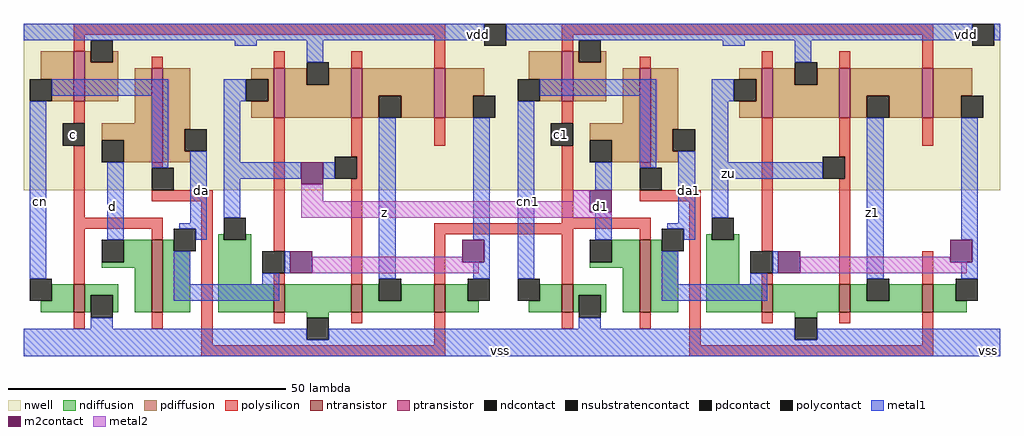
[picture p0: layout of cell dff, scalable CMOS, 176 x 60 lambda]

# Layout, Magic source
magic
tech scmos
<< nwell >>
rect -5 29 171 59
<< polysilicon >>
rect 4 57 71 59
rect 4 54 6 57
rect 18 51 20 53
rect 40 51 42 54
rect 4 41 6 45
rect 4 24 6 37
rect 54 51 56 54
rect 69 51 71 57
rect 92 57 159 59
rect 92 54 94 57
rect 106 51 108 53
rect 128 51 130 54
rect 18 33 20 34
rect 18 27 29 29
rect 4 22 20 24
rect 4 12 6 22
rect 18 20 20 22
rect 4 4 6 7
rect 18 4 20 7
rect 27 1 29 27
rect 40 18 42 42
rect 54 35 56 42
rect 69 37 71 42
rect 92 41 94 45
rect 55 31 56 35
rect 40 12 42 14
rect 54 12 56 31
rect 92 24 94 37
rect 142 51 144 54
rect 157 51 159 57
rect 106 33 108 34
rect 106 27 117 29
rect 92 23 108 24
rect 69 22 108 23
rect 69 21 94 22
rect 69 12 71 21
rect 92 12 94 21
rect 106 20 108 22
rect 40 5 42 7
rect 54 5 56 7
rect 69 1 71 7
rect 92 4 94 7
rect 106 4 108 7
rect 27 -1 71 1
rect 115 1 117 27
rect 128 18 130 42
rect 142 35 144 42
rect 157 37 159 42
rect 143 31 144 35
rect 128 12 130 14
rect 142 12 144 31
rect 157 12 159 18
rect 128 5 130 7
rect 142 5 144 7
rect 157 1 159 7
rect 115 -1 159 1
<< ndiffusion >>
rect 13 16 18 20
rect 9 15 18 16
rect 0 9 4 12
rect -2 7 4 9
rect 6 10 12 12
rect 6 7 7 10
rect 11 7 12 10
rect 15 7 18 15
rect 20 18 22 20
rect 20 7 25 18
rect 30 20 31 21
rect 35 20 36 21
rect 30 12 36 20
rect 30 7 40 12
rect 42 7 54 12
rect 56 9 59 12
rect 63 9 69 12
rect 56 7 69 9
rect 71 9 75 12
rect 101 16 106 20
rect 97 15 106 16
rect 88 9 92 12
rect 71 7 77 9
rect 86 7 92 9
rect 94 10 100 12
rect 94 7 95 10
rect 46 6 50 7
rect 99 7 100 10
rect 103 7 106 15
rect 108 18 110 20
rect 108 7 113 18
rect 118 20 119 21
rect 123 20 124 21
rect 118 12 124 20
rect 118 7 128 12
rect 130 7 142 12
rect 144 9 147 12
rect 151 9 157 12
rect 144 7 157 9
rect 159 9 163 12
rect 159 7 165 9
rect 134 6 138 7
<< pdiffusion >>
rect -2 49 4 54
rect 0 45 4 49
rect 6 52 7 54
rect 11 52 12 54
rect 6 45 12 52
rect 15 41 18 51
rect 9 38 18 41
rect 13 34 18 38
rect 20 40 25 51
rect 36 49 40 51
rect 39 45 40 49
rect 36 42 40 45
rect 42 48 46 51
rect 50 48 54 51
rect 42 42 54 48
rect 56 46 69 51
rect 56 42 59 46
rect 63 42 69 46
rect 71 46 78 51
rect 86 49 92 54
rect 71 42 76 46
rect 88 45 92 49
rect 94 52 95 54
rect 99 52 100 54
rect 94 45 100 52
rect 20 36 24 40
rect 20 34 25 36
rect 103 41 106 51
rect 97 38 106 41
rect 101 34 106 38
rect 108 40 113 51
rect 124 49 128 51
rect 127 45 128 49
rect 124 42 128 45
rect 130 48 134 51
rect 138 48 142 51
rect 130 42 142 48
rect 144 46 157 51
rect 144 42 147 46
rect 151 42 157 46
rect 159 46 166 51
rect 159 42 164 46
rect 108 36 112 40
rect 108 34 113 36
<< metal1 >>
rect -5 56 78 59
rect 33 55 37 56
rect 46 52 49 56
rect 82 56 166 59
rect 121 55 125 56
rect 134 52 137 56
rect 170 56 171 59
rect 0 46 21 49
rect -4 13 -1 45
rect 10 20 13 34
rect 18 33 21 46
rect 31 45 35 49
rect 25 23 28 36
rect 23 22 28 23
rect 26 20 28 22
rect 31 34 34 45
rect 88 46 109 49
rect 31 31 45 34
rect 31 24 34 31
rect 49 31 51 34
rect 22 12 25 18
rect 42 14 43 18
rect 38 12 41 14
rect 22 9 41 12
rect 59 13 62 42
rect 76 20 79 42
rect 78 16 79 20
rect 76 13 79 16
rect 84 13 87 45
rect 98 29 101 34
rect 106 33 109 46
rect 119 45 123 49
rect 98 20 101 25
rect 113 23 116 36
rect 111 22 116 23
rect 114 20 116 22
rect 119 34 122 45
rect 119 31 139 34
rect 119 24 122 31
rect 110 12 113 18
rect 130 14 131 18
rect 126 12 129 14
rect 110 9 129 12
rect 147 13 150 42
rect 164 20 167 42
rect 166 16 167 20
rect 164 13 167 16
rect 7 4 11 6
rect -5 2 46 4
rect 95 4 99 6
rect 50 2 134 4
rect 138 2 171 4
rect -5 -1 171 2
<< metal2 >>
rect 45 27 49 30
rect 94 27 97 29
rect 45 25 97 27
rect 45 24 101 25
rect 47 16 74 17
rect 47 14 77 16
rect 135 16 162 17
rect 135 14 165 16
<< ntransistor >>
rect 4 7 6 12
rect 18 7 20 20
rect 40 7 42 12
rect 54 7 56 12
rect 69 7 71 12
rect 92 7 94 12
rect 106 7 108 20
rect 128 7 130 12
rect 142 7 144 12
rect 157 7 159 12
<< ptransistor >>
rect 4 45 6 54
rect 18 34 20 51
rect 40 42 42 51
rect 54 42 56 51
rect 69 42 71 51
rect 92 45 94 54
rect 106 34 108 51
rect 128 42 130 51
rect 142 42 144 51
rect 157 42 159 51
<< polycontact >>
rect 2 37 6 41
rect 18 29 22 33
rect 90 37 94 41
rect 51 31 55 35
rect 38 14 42 18
rect 106 29 110 33
rect 139 31 143 35
rect 126 14 130 18
<< ndcontact >>
rect -4 9 0 13
rect 9 16 13 20
rect 7 6 11 10
rect 22 18 26 22
rect 31 20 35 24
rect 59 9 63 13
rect 75 9 79 13
rect 84 9 88 13
rect 97 16 101 20
rect 46 2 50 6
rect 95 6 99 10
rect 110 18 114 22
rect 119 20 123 24
rect 147 9 151 13
rect 163 9 167 13
rect 134 2 138 6
<< pdcontact >>
rect -4 45 0 49
rect 7 52 11 56
rect 9 34 13 38
rect 35 45 39 49
rect 46 48 50 52
rect 59 42 63 46
rect 76 42 80 46
rect 84 45 88 49
rect 95 52 99 56
rect 24 36 28 40
rect 97 34 101 38
rect 123 45 127 49
rect 134 48 138 52
rect 147 42 151 46
rect 164 42 168 46
rect 112 36 116 40
<< m2contact >>
rect 45 30 49 34
rect 43 14 47 18
rect 74 16 78 20
rect 97 25 101 29
rect 131 14 135 18
rect 162 16 166 20
<< nsubstratencontact >>
rect 78 55 82 59
rect 166 55 170 59
<< labels >>
rlabel polycontact 4 39 4 39 1 c
rlabel metal1 -2 27 -2 27 3 cn
rlabel metal1 11 26 11 26 1 d
rlabel metal1 77 57 77 57 5 vdd
rlabel metal1 81 0 81 0 8 vss
rlabel metal1 60 25 60 25 1 z
rlabel metal1 27 29 27 29 1 da
rlabel metal1 165 57 165 57 5 vdd
rlabel metal1 169 0 169 0 8 vss
rlabel polycontact 92 39 92 39 1 c1
rlabel metal1 86 27 86 27 1 cn1
rlabel m2contact 99 26 99 26 1 d1
rlabel metal1 115 29 115 29 1 da1
rlabel metal1 148 25 148 25 1 z1
rlabel metal1 122 32 122 32 1 zu
<< end >>
